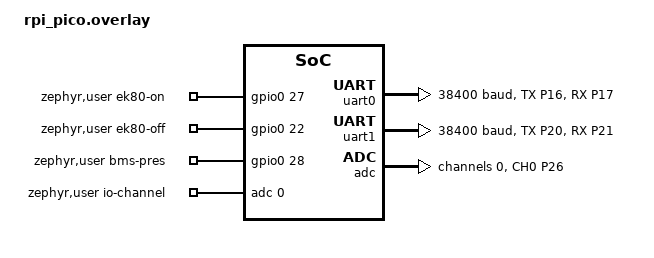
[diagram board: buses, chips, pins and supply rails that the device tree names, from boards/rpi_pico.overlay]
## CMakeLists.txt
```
# EK80 noise suppressor firmware (Raspberry Pi Pico / RP2040, Zephyr)
#
#   west build -b rpi_pico firmware
#
cmake_minimum_required(VERSION 3.20.0)

find_package(Zephyr REQUIRED HINTS $ENV{ZEPHYR_BASE})
project(ek80)

include(${CMAKE_CURRENT_LIST_DIR}/ek80.cmake)
target_sources(app PRIVATE
  src/main.c
  src/hw/port_uart.c
  src/hw/board_io.c
)
```

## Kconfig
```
# EK80 noise suppressor configuration options.
#
# Override the defaults in prj.conf or with -DCONFIG_...=... on the west
# command line.

mainmenu "EK80 noise suppressor"

menu "EK80 noise suppressor"

config EK80_GLIDER_BAUD
	int "Glider port baud rate"
	default 38400
	help
	  Must match the 'baud=' line of the glider's logdev .cnf file.

config EK80_SENSOR_BAUD
	int "EK80 (RS-422) port baud rate"
	default 38400

config EK80_GLIDER_LINE_MAX
	int "Maximum glider command line length"
	default 64
	range 32 512
	help
	  Longer lines are dropped up to the next line end.

config EK80_SENSOR_LINE_MAX
	int "Maximum EK80 line length"
	default 256
	range 64 2048
	help
	  Longer lines are dropped up to the next line end. Only affects live output and PING_OK
	  detection; the prompts are short.

config EK80_RELAY_PULSE_MS
	int "Latching relay coil pulse length"
	default 500

config EK80_WAKE_DELAY_MS
	int "Delay between the EK80 HANDSHAKE and the 'wake' command"
	default 500

config EK80_RUN_CMD
	string "Command that starts acquisition"
	default "RUN ENSEMBLE 1"

config EK80_VBAT_DIVIDER_X1000
	int "Pack voltage divider ratio x1000 ((R45 + R46) / R46)"
	default 5167
	help
	  R45 = 10k, R46 = 2.4k gives 12.4 / 2.4 = 5.167.

config EK80_VBAT_CAL_PERMILLE
	int "Pack voltage calibration factor (per mille)"
	default 1000
	help
	  Scales the measured voltage, to calibrate against a meter.

config EK80_VBAT_SAMPLES
	int "ADC samples averaged per pack voltage reading"
	default 16
	range 1 256

config EK80_WATCHDOG_TIMEOUT_MS
	int "Hardware watchdog timeout (0 = disabled)"
	default 4000

endmenu

module = EK80
module-str = ek80
source "subsys/logging/Kconfig.template.log_config"

source "Kconfig.zephyr"
```

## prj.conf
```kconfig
# EK80 noise suppressor, Raspberry Pi Pico

CONFIG_BOOT_BANNER=n
CONFIG_UART_CONSOLE=n

# UART: interrupt-driven RX, baud set at runtime from Kconfig
CONFIG_SERIAL=y
CONFIG_UART_INTERRUPT_DRIVEN=y
CONFIG_UART_USE_RUNTIME_CONFIGURE=y
CONFIG_RING_BUFFER=y

CONFIG_GPIO=y
CONFIG_ADC=y
CONFIG_WATCHDOG=y

# State machine
CONFIG_SMF=y
CONFIG_SMF_ANCESTOR_SUPPORT=y
CONFIG_SMF_INITIAL_TRANSITION=y

# Debug output over SEGGER RTT (Pico SWD pins); never touches the UARTs
CONFIG_PRINTK=y
CONFIG_USE_SEGGER_RTT=y
CONFIG_RTT_CONSOLE=y
CONFIG_LOG=y
CONFIG_LOG_BACKEND_RTT=y
CONFIG_LOG_MODE_DEFERRED=y
CONFIG_SEGGER_RTT_BUFFER_SIZE_UP=2048
CONFIG_SEGGER_RTT_BUFFER_SIZE_DOWN=64

CONFIG_MAIN_STACK_SIZE=2048
```

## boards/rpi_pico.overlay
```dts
/*
 * EK80 noise suppressor V3.0 (pcb/ek80-pico) on a Raspberry Pi Pico.
 *
 *   GP16/GP17  UART0  EK80, through RS-422 transceiver U1, J3
 *   GP20/GP21  UART1  glider, through optocouplers U5/U2 and MAX3221 U4, J2
 *   GP27              net RELAY_RESET (Q2): pulse connects the pack to the EK80
 *   GP22              net RELAY_SET   (Q1): pulse connects the pack to the charger
 *   GP26  ADC0        pack voltage, R45/R46 divider (10k / 2.4k)
 *   GP28              net PRES via JP2 (bq77915 PRES), held low
 *   GP18/GP19  I2C1   J6 (external BQ76920 board), not used by the firmware
 *   GP14/GP15         J6 ALM (input) / BOOT, not used by the firmware
 *
 * Note the relay net names: a pulse on net RELAY_RESET powers the EK80 and
 * one on RELAY_SET switches it off. The GPIOs are named by what they do.
 */
#include <dt-bindings/pinctrl/rpi-pico-rp2040-pinctrl.h>

/ {
	chosen {
		ek80,glider-uart = &uart1;
		ek80,sensor-uart = &uart0;
	};

	zephyr,user {
		ek80-on-gpios = <&gpio0 27 GPIO_ACTIVE_HIGH>;
		ek80-off-gpios = <&gpio0 22 GPIO_ACTIVE_HIGH>;
		bms-pres-gpios = <&gpio0 28 GPIO_ACTIVE_HIGH>;
		io-channels = <&adc 0>;
	};
};

&pinctrl {
	uart0_ek80: uart0_ek80 {
		group1 {
			pinmux = <UART0_TX_P16>;
		};
		group2 {
			pinmux = <UART0_RX_P17>;
			input-enable;
		};
	};

	uart1_ek80: uart1_ek80 {
		group1 {
			pinmux = <UART1_TX_P20>;
		};
		group2 {
			pinmux = <UART1_RX_P21>;
			input-enable;
		};
	};

	/* Only GP26 is analog; GP27/GP28 are used as digital outputs */
	adc_ek80: adc_ek80 {
		group1 {
			pinmux = <ADC_CH0_P26>;
			input-enable;
		};
	};
};

/* Baud rates are applied at runtime from Kconfig */
&uart0 {
	status = "okay";
	current-speed = <38400>;
	pinctrl-0 = <&uart0_ek80>;
	pinctrl-names = "default";
};

&uart1 {
	status = "okay";
	current-speed = <38400>;
	pinctrl-0 = <&uart1_ek80>;
	pinctrl-names = "default";
};

&adc {
	status = "okay";
	pinctrl-0 = <&adc_ek80>;
	pinctrl-names = "default";
	#address-cells = <1>;
	#size-cells = <0>;

	channel@0 {
		reg = <0>;
		zephyr,gain = "ADC_GAIN_1";
		zephyr,reference = "ADC_REF_INTERNAL";
		zephyr,acquisition-time = <ADC_ACQ_TIME_DEFAULT>;
		zephyr,resolution = <12>;
	};
};

/* The board default puts I2C0 on GP4/GP5; nothing is connected there */
&i2c0 {
	status = "disabled";
};
```

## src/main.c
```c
/*
 * EK80 noise suppressor - Raspberry Pi Pico firmware
 *
 * A single event loop: wait for UART data or the next controller deadline,
 * feed received bytes to the application core, feed the watchdog.
 */
#include <zephyr/kernel.h>
#include <zephyr/logging/log.h>

#include "core/app.h"
#include "core/board_io.h"
#include "core/controller.h"
#include "core/port.h"

LOG_MODULE_DECLARE(ek80, CONFIG_EK80_LOG_LEVEL);

#define MAX_WAIT_MS  100
#define STATUS_EVERY 60000

static void log_status(void)
{
	const struct port_stats *g = port_get_stats(PORT_GLIDER);
	const struct port_stats *e = port_get_stats(PORT_EK80);

	LOG_INF("state=%s glider rx=%u drop=%u err=%u, ek80 rx=%u drop=%u err=%u",
		controller_state_name(controller_state()), g->rx_bytes, g->rx_dropped,
		g->rx_errors, e->rx_bytes, e->rx_dropped, e->rx_errors);
}

static void service_port(enum ek80_port port)
{
	uint8_t buf[64];
	size_t n;

	if (port == PORT_EK80) {
		switch (controller_ek80_rx_mode()) {
		case EK80_RX_DISCARD:
			port_discard_rx(port);
			return;
		case EK80_RX_HOLD:
			return;
		case EK80_RX_PROCESS:
			break;
		}
	}
	while ((n = port_read(port, buf, sizeof(buf))) > 0) {
		app_feed(port, buf, n, k_uptime_get());
		if (port == PORT_EK80 && controller_ek80_rx_mode() != EK80_RX_PROCESS) {
			/* The sequence just ended; the rest is discarded next pass */
			break;
		}
	}
}

int main(void)
{
	int64_t next_status = STATUS_EVERY;

	LOG_INF("EK80 noise suppressor starting");

	if (board_io_init() != 0) {
		LOG_ERR("board I/O init failed, continuing");
	}
	if (port_init() != 0) {
		/* Without UARTs nothing can work; let the watchdog retry */
		LOG_ERR("serial ports unavailable");
		for (;;) {
			k_sleep(K_SECONDS(1));
		}
	}

	app_init(k_uptime_get());

	for (;;) {
		int64_t now = k_uptime_get();
		int64_t wait = MIN(app_next_deadline() - now, MAX_WAIT_MS);

		board_watchdog_feed();
		port_wait_ms((int32_t)MAX(wait, 0));

		service_port(PORT_GLIDER);
		service_port(PORT_EK80);

		now = k_uptime_get();
		app_poll(now);

		if (now >= next_status) {
			next_status = now + STATUS_EVERY;
			log_status();
		}
	}
	return 0;
}
```
